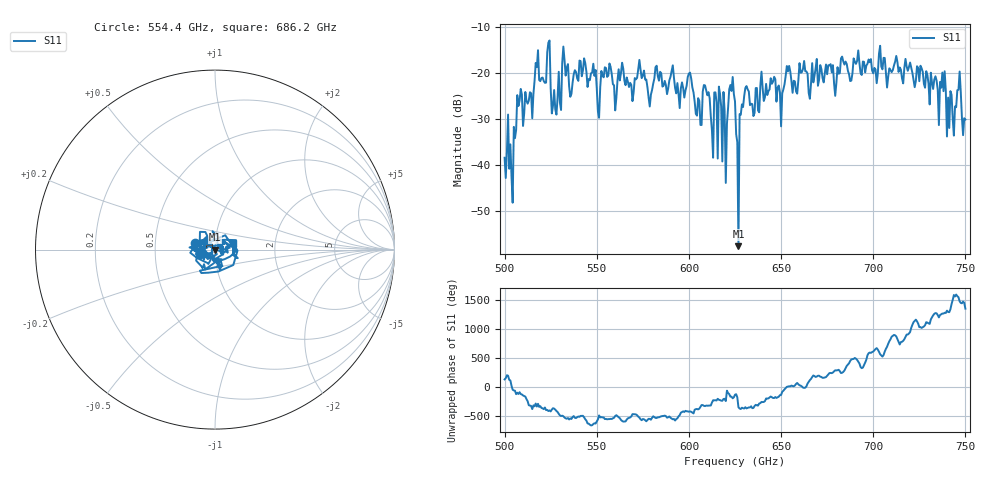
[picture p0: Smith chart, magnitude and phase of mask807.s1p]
!Created with skrf (http://scikit-rf.org).
# GHz S MA R 50.0
!freq magS11 angS11
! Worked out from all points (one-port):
!   401 points, 500 GHz to 750 GHz, reference 50 ohm
!   lowest |S11| = -57.7 dB at 626.9 GHz (marker M1), VSWR 1.00, Z = 50.1 + j0.0125 ohm
!   |S11| at or under -10 dB: start of sweep to end of sweep
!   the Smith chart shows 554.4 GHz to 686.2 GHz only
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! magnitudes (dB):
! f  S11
! 500 GHz  -38.4
! 503.8 GHz  -42.6
! 508.1 GHz  -26.0
! 514.4 GHz  -24.4
! 517.5 GHz  -18.7
! 523.8 GHz  -13.4
! 526.9 GHz  -23.7
! 531.2 GHz  -17.9
! 542.5 GHz  -19.4
! 551.2 GHz  -29.7
! 562.5 GHz  -21.6
! 593.8 GHz  -22.2
! 600.6 GHz  -19.9
! 605.6 GHz  -26.0
! 609.4 GHz  -23.8
! 619.4 GHz  -28.3
! 623.1 GHz  -23.9
! 625 GHz  -26.2
! 625.6 GHz  -33.3
! 626.9 GHz  -57.7
! 631.2 GHz  -22.8
! 656.2 GHz  -24.3
! 687.5 GHz  -21.8
! 718.8 GHz  -19.5
! 737.5 GHz  -19.9
! 742.5 GHz  -24.7
! 746.2 GHz  -23.6
! 750 GHz  -30.1
